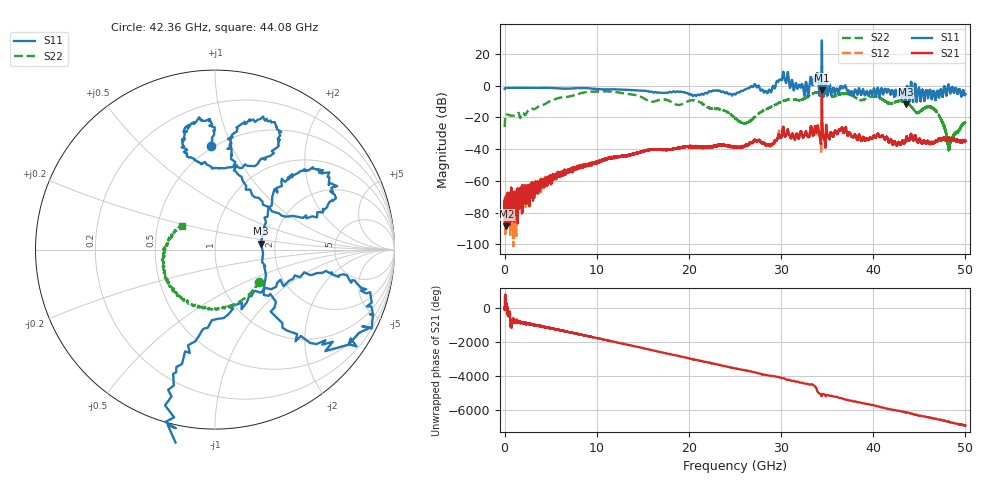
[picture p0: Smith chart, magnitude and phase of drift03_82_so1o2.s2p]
!Created with skrf (http://scikit-rf.org).
# Hz S RI R 50.0
!freq ReS11 ImS11 ReS21 ImS21 ReS12 ImS12 ReS22 ImS22
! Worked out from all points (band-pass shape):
!   10000 points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, 5.3 MHz to 50 GHz, reference 50 ohm
!   highest |S21| = -2.96 dB at 34.43 GHz (marker M1); lowest = -88.8 dB at 210.3 MHz (marker M2)
!   |S21| within 3 dB of the highest: 34.42748 GHz to 34.43506 GHz (7.572 MHz wide, 0.022 % of centre)
!   lowest |S11| = -11.8 dB at 43.52 GHz (marker M3), VSWR 1.69, Z = 84 + j5.95 ohm
!   |S11| at or under -10 dB: 43.4862 GHz to 43.54503 GHz (58.83 MHz wide, 0.135 % of centre); 44.313 GHz to 44.32934 GHz (16.33 MHz wide, 0.0369 % of centre); 44.70835 GHz to 44.71134 GHz (2.988 MHz wide, 0.00668 % of centre)
!   |S22| runs from -40.9 to -3.6 dB; largest |S21 - S12| = 0.22
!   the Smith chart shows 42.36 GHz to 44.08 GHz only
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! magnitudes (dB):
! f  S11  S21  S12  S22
! 5.3 MHz  -2.1  -79.2  -73.4  -26.1
! 210.3 MHz  -1.4  -88.8  -74.9  -18.3
! 8.34 GHz  -1.5  -50.8  -50.6  -4.7
! 16.67 GHz  -4.4  -40.2  -40.2  -9.2
! 20.75 GHz  -6.3  -38.3  -38.4  -9.4
! 25.01 GHz  -5.5  -38.9  -38.9  -20.6
! 26.22 GHz  -2.2  -37.6  -37.3  -23.6
! 27.39 GHz  -1.1  -34.9  -35.1  -18.4
! 28.72 GHz  -2.5  -37.5  -37.5  -14.1
! 30.14 GHz  4.5  -29.4  -29.6  -9.9
! 32.74 GHz  2.0  -29.5  -29.4  -7.4
! 33.34 GHz  2.6  -27.5  -27.9  -5.2
! 33.82 GHz  4.0  -29.1  -29.4  -4.3
! 34.43 GHz  28.5  -3.0  -5.0  -3.9
! 36.48 GHz  -0.6  -28.0  -27.9  -5.4
! 41.67 GHz  -2.8  -35.6  -35.4  -11.0
! 43.52 GHz  -11.8  -34.6  -34.8  -10.4
! 44.75 GHz  -8.9  -34.7  -34.9  -17.0
! 46.67 GHz  -5.3  -35.5  -35.5  -15.1
! 47.52 GHz  -7.1  -33.8  -33.7  -23.4
! 48.25 GHz  -1.2  -32.6  -33.0  -35.5
! 50 GHz  -5.2  -34.6  -34.8  -23.2
